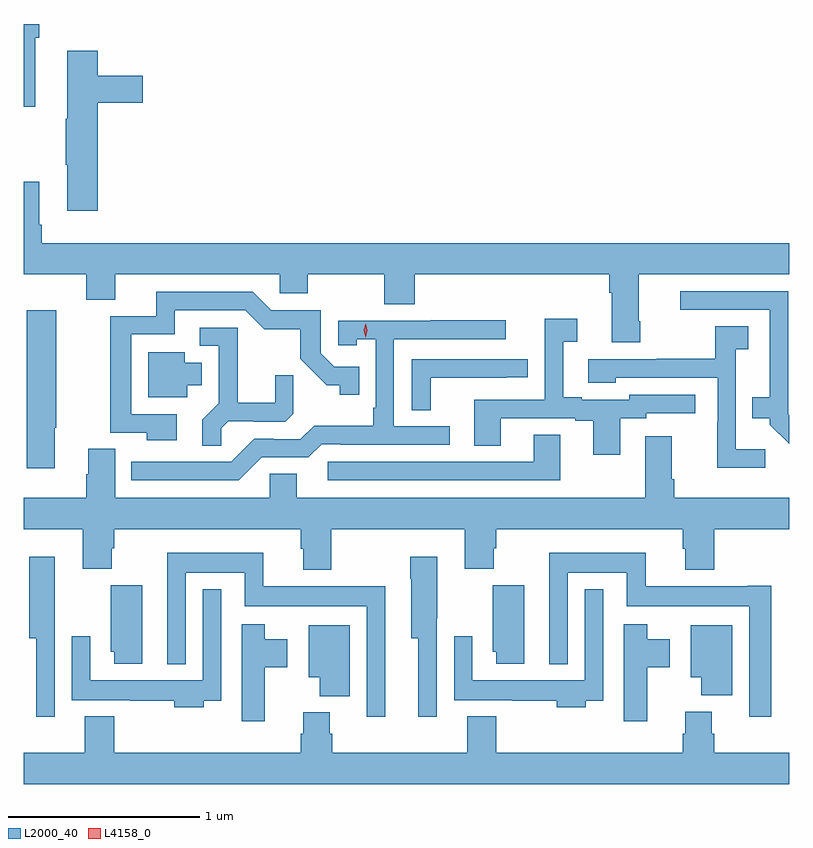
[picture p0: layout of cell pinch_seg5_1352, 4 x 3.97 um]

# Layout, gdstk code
import gdstk
lib = gdstk.Library(unit=1e-6, precision=1e-09)
def P(c, l, *ps):  # polygons
    for p in ps: c.add(gdstk.Polygon(p, *l))
L2000_40 = (2000, 40)
L4158_0 = (4158, 0)

pinch_seg5_1352 = lib.new_cell('pinch_seg5_1352')
P(pinch_seg5_1352, L2000_40, [(215.122,897.956),(215.141,897.956),(215.141,898.029),(215.062,898.029),(215.062,897.597),(215.122,897.597)],
  [(215.447,897.617),(215.683,897.617),(215.683,897.759),(215.447,897.759),(215.447,897.889),(215.288,897.889),(215.288,897.533),(215.281,897.533),(215.281,897.292),(215.288,897.292),(215.288,897.054),(215.447,897.054)],
  [(218.283,896.476),(218.275,896.476),(218.275,896.72),(219.062,896.72),(219.062,896.884),(215.156,896.884),(215.156,896.98),(215.143,896.98),(215.143,897.205),(215.062,897.205),(215.062,896.72),(215.387,896.72),(215.387,896.587),(215.539,896.587),(215.539,896.72),(216.399,896.72),(216.399,896.622),(216.546,896.622),(216.546,896.72),(216.946,896.72),(216.946,896.563),(217.106,896.563),(217.106,896.72),(218.123,896.72),(218.123,896.624),(218.135,896.624),(218.135,896.364),(218.283,896.364)],
  [(219.062,895.984),(219.057,895.989),(219.057,896.631),(218.493,896.631),(218.493,896.535),(218.96,896.535),(218.96,896.077),(218.869,896.077),(218.869,895.967),(218.961,895.967),(218.961,895.935),(219.062,895.834)],
  [(215.86,895.989),(215.622,895.989),(215.622,896.406),(215.851,896.406),(215.851,896.532),(216.219,896.532),(216.318,896.434),(216.507,896.434),(216.507,896.278),(216.644,896.141),(216.714,896.141),(216.714,896.091),(216.815,896.091),(216.815,896.238),(216.684,896.238),(216.615,896.307),(216.615,896.532),(216.354,896.532),(216.258,896.628),(215.753,896.628),(215.753,896.502),(215.514,896.502),(215.514,895.893),(215.704,895.893),(215.704,895.853),(215.86,895.853)],
  [(215.224,895.919),(215.232,895.919),(215.232,896.533),(215.078,896.533),(215.078,895.707),(215.224,895.707)],
  [(218.179,895.968),(218.316,895.968),(218.316,895.995),(218.572,895.995),(218.572,896.091),(218.226,896.091),(218.226,896.064),(217.978,896.064),(217.978,896.077),(217.882,896.077),(217.882,896.368),(217.954,896.368),(217.954,896.488),(217.785,896.488),(217.785,896.064),(217.415,896.064),(217.415,895.825),(217.555,895.825),(217.555,895.968),(217.943,895.968),(217.943,895.956),(218.039,895.956),(218.039,895.776),(218.179,895.776)],
  [(216.306,895.764),(216.549,895.764),(216.618,895.833),(216.718,895.833),(216.718,895.83),(217.288,895.83),(217.288,895.926),(216.996,895.926),(216.996,896.382),(217.582,896.382),(217.582,896.481),(217.189,896.481),(217.189,896.478),(216.705,896.478),(216.705,896.349),(216.801,896.349),(216.801,896.381),(216.9,896.381),(216.9,896.023),(216.888,896.023),(216.888,895.93),(216.58,895.93),(216.507,895.857),(216.368,895.857),(216.368,895.86),(216.267,895.86),(216.147,895.74),(215.624,895.74),(215.624,895.644),(216.186,895.644)],
  [(218.938,895.807),(218.784,895.807),(218.784,896.329),(218.848,896.329),(218.848,896.45),(218.676,896.45),(218.676,896.28),(218.371,896.28),(218.371,896.277),(218.013,896.277),(218.013,896.153),(218.157,896.153),(218.157,896.181),(218.688,896.181),(218.688,895.949),(218.686,895.949),(218.686,895.709),(218.938,895.709)],
  [(216.093,895.916),(216.13,895.953),(216.264,895.953),(216.264,895.95),(216.429,895.95),(216.47,895.991),(216.47,896.193),(216.376,896.193),(216.376,896.05),(216.179,896.05),(216.179,896.442),(215.982,896.442),(215.982,896.346),(216.081,896.346),(216.081,896.047),(215.995,895.961),(215.995,895.825),(216.093,895.825)],
  [(215.917,896.141),(215.992,896.141),(215.992,896.257),(215.902,896.257),(215.902,896.314),(215.711,896.314),(215.711,896.078),(215.917,896.078)],
  [(217.188,896.181),(217.583,896.181),(217.583,896.182),(217.696,896.182),(217.696,896.277),(217.089,896.277),(217.089,896.011),(217.188,896.011)],
  [(217.867,895.883),(217.727,895.883),(217.727,895.74),(216.651,895.74),(216.651,895.644),(217.867,895.644)],
  [(216.487,895.679),(216.348,895.679),(216.348,895.552),(215.539,895.552),(215.539,895.808),(215.399,895.808),(215.399,895.674),(215.387,895.674),(215.387,895.552),(215.062,895.552),(215.062,895.388),(215.369,895.388),(215.369,895.18),(215.521,895.18),(215.521,895.289),(215.534,895.289),(215.534,895.388),(216.509,895.388),(216.509,895.287),(216.521,895.287),(216.521,895.175),(216.669,895.175),(216.669,895.388),(217.367,895.388),(217.367,895.18),(217.519,895.18),(217.519,895.289),(217.532,895.289),(217.532,895.388),(218.507,895.388),(218.507,895.287),(218.519,895.287),(218.519,895.175),(218.672,895.175),(218.672,895.388),(219.062,895.388),(219.062,895.552),(218.462,895.552),(218.462,895.648),(218.449,895.648),(218.449,895.873),(218.309,895.873),(218.309,895.552),(216.487,895.552)],
  [(218.969,895.093),(218.846,895.093),(218.846,895.09),(218.312,895.09),(218.312,895.264),(217.808,895.264),(217.808,894.683),(217.905,894.683),(217.905,895.16),(218.214,895.16),(218.214,894.986),(218.853,894.986),(218.853,894.408),(218.969,894.408)],
  [(216.952,895.09),(216.314,895.09),(216.314,895.264),(215.81,895.264),(215.81,894.683),(215.907,894.683),(215.907,895.16),(216.216,895.16),(216.216,894.986),(216.855,894.986),(216.855,894.408),(216.952,894.408)],
  [(215.223,894.922),(215.224,894.922),(215.224,895.243),(215.09,895.243),(215.09,894.818),(215.126,894.818),(215.126,894.408),(215.223,894.408)],
  [(217.221,894.922),(217.222,894.922),(217.222,895.243),(217.081,895.243),(217.081,895.13),(217.088,895.13),(217.088,894.818),(217.124,894.818),(217.124,894.408),(217.221,894.408)],
  [(217.678,895.095),(217.514,895.095),(217.514,894.747),(217.532,894.747),(217.532,894.684),(217.678,894.684)],
  [(215.68,895.095),(215.516,895.095),(215.516,894.747),(215.534,894.747),(215.534,894.684),(215.68,894.684)],
  [(216.001,894.492),(216.093,894.492),(216.093,895.075),(215.997,895.075),(215.997,894.598),(215.409,894.598),(215.409,894.829),(215.313,894.829),(215.313,894.494),(215.617,894.494),(215.617,894.492),(215.849,894.492),(215.849,894.458),(216.001,894.458)],
  [(217.999,894.492),(218.091,894.492),(218.091,895.075),(217.995,895.075),(217.995,894.598),(217.407,894.598),(217.407,894.829),(217.311,894.829),(217.311,894.494),(217.615,894.494),(217.615,894.492),(217.847,894.492),(217.847,894.458),(217.999,894.458)],
  [(216.322,894.667),(216.439,894.667),(216.439,894.814),(216.322,894.814),(216.322,894.892),(216.2,894.892),(216.2,894.384),(216.322,894.384)],
  [(218.32,894.667),(218.437,894.667),(218.437,894.814),(218.32,894.814),(218.32,894.892),(218.198,894.892),(218.198,894.384),(218.32,894.384)],
  [(216.766,894.886),(216.551,894.886),(216.551,894.614),(216.608,894.614),(216.608,894.515),(216.766,894.515)],
  [(218.764,894.886),(218.549,894.886),(218.549,894.614),(218.603,894.614),(218.603,894.521),(218.764,894.521)],
  [(219.062,894.22),(218.672,894.22),(218.672,894.318),(218.659,894.318),(218.659,894.433),(218.519,894.433),(218.519,894.318),(218.507,894.318),(218.507,894.22),(217.532,894.22),(217.532,894.409),(217.379,894.409),(217.379,894.22),(216.674,894.22),(216.674,894.318),(216.661,894.318),(216.661,894.43),(216.521,894.43),(216.521,894.318),(216.509,894.318),(216.509,894.22),(215.534,894.22),(215.534,894.409),(215.381,894.409),(215.381,894.22),(215.062,894.22),(215.062,894.056),(219.062,894.056)])
P(pinch_seg5_1352, L4158_0, [(216.848,896.391),(216.848,896.391),(216.838,896.427),(216.848,896.463),(216.848,896.463),(216.848,896.463),(216.858,896.427),(216.848,896.391)])

lib.write_gds('pinch_seg5_1352.gds')
